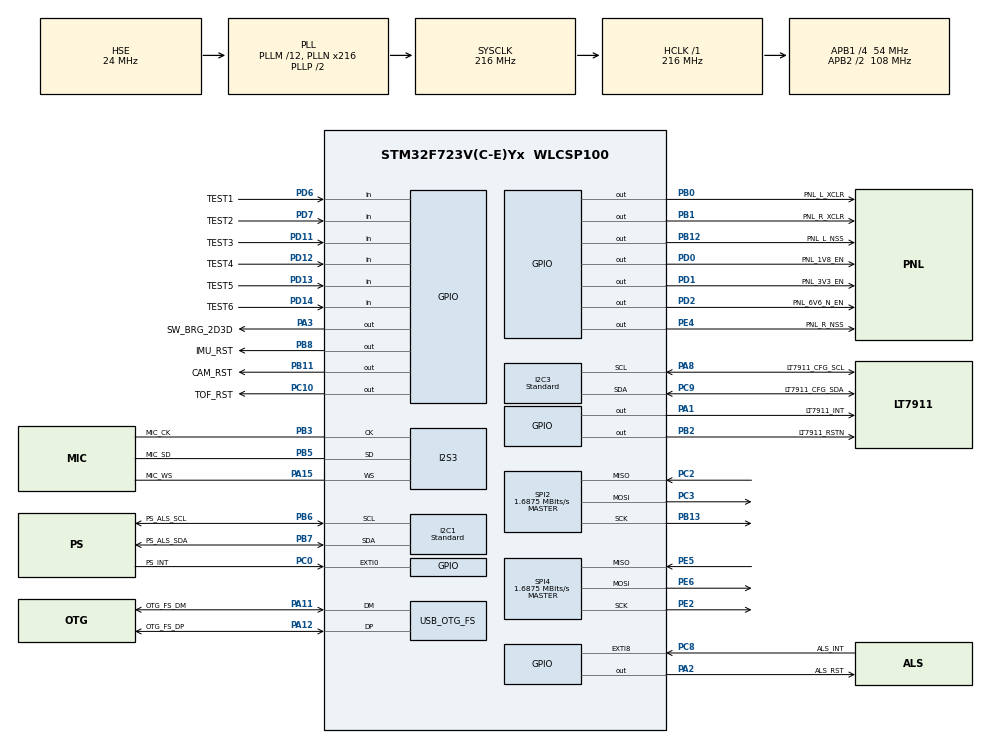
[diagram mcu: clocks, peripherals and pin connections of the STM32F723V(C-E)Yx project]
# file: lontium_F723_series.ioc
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Dma.Request0=SPI3_RX
Dma.SPI3_RX.0.Direction=DMA_PERIPH_TO_MEMORY
Dma.SPI3_RX.0.FIFOMode=DMA_FIFOMODE_DISABLE
Dma.SPI3_RX.0.Instance=DMA1_Stream0
Dma.SPI3_RX.0.MemDataAlignment=DMA_MDATAALIGN_HALFWORD
Dma.SPI3_RX.0.MemInc=DMA_MINC_ENABLE
Dma.SPI3_RX.0.Mode=DMA_CIRCULAR
Dma.SPI3_RX.0.PeriphDataAlignment=DMA_PDATAALIGN_HALFWORD
Dma.SPI3_RX.0.PeriphInc=DMA_PINC_DISABLE
Dma.SPI3_RX.0.Priority=DMA_PRIORITY_VERY_HIGH
I2C1.I2C_Speed_Mode=I2C_Standard
I2C1.Timing=0x20404768
I2C3.I2C_Speed_Mode=I2C_Standard
I2C3.Timing=0x20404768
I2S3.AudioFreq=I2S_AUDIOFREQ_16K
I2S3.DataFormat=I2S_DATAFORMAT_16B_EXTENDED
I2S3.ErrorAudioFreq=-0.26 %
I2S3.FullDuplexMode=I2S_FULLDUPLEXMODE_DISABLE
I2S3.Instance=SPI$Index
I2S3.Mode=I2S_MODE_MASTER_RX
I2S3.RealAudioFreq=15.957 KHz
I2S3.VirtualMode=I2S_MODE_MASTER
Mcu.Family=STM32F7
Mcu.Name=STM32F723V(C-E)Yx
Mcu.Package=WLCSP100
NVIC.DMA1_Stream0_IRQn=true\:0\:0\:true\:false\:true\:false\:true\:true
NVIC.EXTI0_IRQn=true\:1\:0\:true\:false\:true\:true\:true\:true
NVIC.EXTI9_5_IRQn=true\:1\:0\:true\:false\:true\:true\:true\:true
NVIC.I2C1_ER_IRQn=true\:2\:0\:true\:false\:true\:true\:true\:true
NVIC.I2C1_EV_IRQn=true\:2\:0\:true\:false\:true\:true\:true\:true
NVIC.I2C3_ER_IRQn=true\:2\:0\:true\:false\:true\:true\:true\:true
NVIC.I2C3_EV_IRQn=true\:2\:0\:true\:false\:true\:true\:true\:true
NVIC.OTG_FS_IRQn=true\:0\:0\:false\:false\:true\:false\:true\:true
NVIC.PriorityGroup=NVIC_PRIORITYGROUP_4
NVIC.SPI3_IRQn=true\:0\:0\:false\:false\:true\:true\:true\:true
PA1.GPIO_Label=LT7911_INT
PA1.Signal=GPIO_Output
PA11.GPIO_Label=OTG_FS_DM
PA11.Mode=Device_Only
PA11.Signal=USB_OTG_FS_DM
PA12.GPIO_Label=OTG_FS_DP
PA12.Mode=Device_Only
PA12.Signal=USB_OTG_FS_DP
PA13.Mode=Serial_Wire
PA13.Signal=SYS_JTMS-SWDIO
PA14.Mode=Serial_Wire
PA14.Signal=SYS_JTCK-SWCLK
PA15.GPIO_Label=MIC_WS
PA15.Mode=Half_Duplex_Master
PA15.Signal=I2S3_WS
PA2.GPIO_Label=ALS_RST
PA2.Signal=GPIO_Output
PA3.GPIO_Label=SW_BRG_2D3D
PA3.Signal=GPIO_Output
PA8.GPIO_Label=LT7911_CFG_SCL
PA8.GPIO_Pu=GPIO_NOPULL
PA8.Mode=I2C
PA8.Signal=I2C3_SCL
PB0.GPIO_Label=PNL_L_XCLR
PB0.Signal=GPIO_Output
PB1.GPIO_Label=PNL_R_XCLR
PB1.Signal=GPIO_Output
PB11.GPIO_Label=CAM_RST
PB11.Signal=GPIO_Output
PB12.GPIO_Label=PNL_L_NSS
PB12.GPIO_PuPd=GPIO_NOPULL
PB12.GPIO_Speed=GPIO_SPEED_FREQ_LOW
PB12.Signal=GPIO_Output
PB13.Mode=Full_Duplex_Master
PB13.Signal=SPI2_SCK
PB2.GPIO_Label=LT7911_RSTN
PB2.Signal=GPIO_Output
PB3.GPIO_Label=MIC_CK
PB3.Mode=Half_Duplex_Master
PB3.Signal=I2S3_CK
PB5.GPIO_Label=MIC_SD
PB5.Mode=Half_Duplex_Master
PB5.Signal=I2S3_SD
PB6.GPIO_Label=PS_ALS_SCL
PB6.GPIO_Pu=GPIO_NOPULL
PB6.Mode=I2C
PB6.Signal=I2C1_SCL
PB7.GPIO_Label=PS_ALS_SDA
PB7.GPIO_Pu=GPIO_NOPULL
PB7.Mode=I2C
PB7.Signal=I2C1_SDA
PB8.GPIO_Label=IMU_RST
PB8.Signal=GPIO_Output
PC0.GPIO_Label=PS_INT
PC0.GPIO_ModeDefaultEXTI=GPIO_MODE_IT_RISING
PC0.GPIO_PuPd=GPIO_NOPULL
PC0.Signal=GPXTI0
PC10.GPIO_Label=TOF_RST
PC10.Signal=GPIO_Output
PC2.Mode=Full_Duplex_Master
PC2.Signal=SPI2_MISO
PC3.Mode=Full_Duplex_Master
PC3.Signal=SPI2_MOSI
PC8.GPIO_Label=ALS_INT
PC8.GPIO_ModeDefaultEXTI=GPIO_MODE_IT_RISING
PC8.GPIO_PuPd=GPIO_NOPULL
PC8.Signal=GPXTI8
PC9.GPIO_Label=LT7911_CFG_SDA
PC9.GPIO_Pu=GPIO_NOPULL
PC9.Mode=I2C
PC9.Signal=I2C3_SDA
PD0.GPIO_Label=PNL_1V8_EN
PD0.Signal=GPIO_Output
PD1.GPIO_Label=PNL_3V3_EN
PD1.Signal=GPIO_Output
PD11.GPIO_Label=TEST3
PD11.GPIO_PuPd=GPIO_PULLUP
PD11.Signal=GPIO_Input
PD12.GPIO_Label=TEST4
PD12.GPIO_PuPd=GPIO_PULLUP
PD12.Signal=GPIO_Input
PD13.GPIO_Label=TEST5
PD13.GPIO_PuPd=GPIO_PULLUP
PD13.Signal=GPIO_Input
PD14.GPIO_Label=TEST6
PD14.GPIO_PuPd=GPIO_PULLUP
PD14.Signal=GPIO_Input
PD2.GPIO_Label=PNL_6V6_N_EN
PD2.Signal=GPIO_Output
PD6.GPIO_Label=TEST1
PD6.GPIO_PuPd=GPIO_PULLUP
PD6.Signal=GPIO_Input
PD7.GPIO_Label=TEST2
PD7.GPIO_PuPd=GPIO_PULLUP
PD7.Signal=GPIO_Input
PE2.Mode=Full_Duplex_Master
PE2.Signal=SPI4_SCK
PE4.GPIO_Label=PNL_R_NSS
PE4.GPIO_PuPd=GPIO_NOPULL
PE4.GPIO_Speed=GPIO_SPEED_FREQ_LOW
PE4.Signal=GPIO_Output
PE5.Mode=Full_Duplex_Master
PE5.Signal=SPI4_MISO
PE6.Mode=Full_Duplex_Master
PE6.Signal=SPI4_MOSI
PH0-OSC_IN.Mode=HSE-External-Oscillator
PH0-OSC_IN.Signal=RCC_OSC_IN
PH1-OSC_OUT.Mode=HSE-External-Oscillator
PH1-OSC_OUT.Signal=RCC_OSC_OUT
ProjectManager.HeapSize=0x200
ProjectManager.StackSize=0x400
ProjectManager.TargetToolchain=STM32CubeIDE
RCC.AHBFreq_Value=216000000
RCC.APB1CLKDivider=RCC_HCLK_DIV4
RCC.APB1Freq_Value=54000000
RCC.APB1TimFreq_Value=108000000
RCC.APB2CLKDivider=RCC_HCLK_DIV2
RCC.APB2Freq_Value=108000000
RCC.APB2TimFreq_Value=216000000
RCC.CortexFreq_Value=216000000
RCC.HCLKFreq_Value=216000000
RCC.HSE_VALUE=24000000
RCC.HSI_VALUE=16000000
RCC.LSE_VALUE=32768
RCC.PLLI2SN=96
RCC.PLLM=12
RCC.PLLN=216
RCC.PLLQ=9
RCC.SYSCLKFreq_VALUE=216000000
RCC.SYSCLKSource=RCC_SYSCLKSOURCE_PLLCLK
RCC.USBFreq_Value=48000000
RCC.VCOOutputFreq_Value=432000000
SPI2.BaudRatePrescaler=SPI_BAUDRATEPRESCALER_32
SPI2.CalculateBaudRate=1.6875 MBits/s
SPI2.DataSize=SPI_DATASIZE_8BIT
SPI2.Direction=SPI_DIRECTION_2LINES
SPI2.FirstBit=SPI_FIRSTBIT_LSB
SPI2.Mode=SPI_MODE_MASTER
SPI2.VirtualType=VM_MASTER
SPI4.BaudRatePrescaler=SPI_BAUDRATEPRESCALER_64
SPI4.CalculateBaudRate=1.6875 MBits/s
SPI4.DataSize=SPI_DATASIZE_8BIT
SPI4.Direction=SPI_DIRECTION_2LINES
SPI4.FirstBit=SPI_FIRSTBIT_LSB
SPI4.Mode=SPI_MODE_MASTER
SPI4.VirtualType=VM_MASTER
USB_DEVICE.CLASS_NAME_FS=CDC
USB_DEVICE.VirtualMode-CDC_FS=Cdc
USB_DEVICE.VirtualModeFS=Cdc_FS
USB_OTG_FS.VirtualMode=Device_Only
VP_USB_DEVICE_VS_USB_DEVICE_CDC_FS.Mode=CDC_FS
board=custom

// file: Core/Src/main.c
/* USER CODE BEGIN Header */
/**
  ******************************************************************************
  * @file           : main.c
  * @brief          : Main program body
  ******************************************************************************
  * @attention
  *
  * Copyright (c) 2023 STMicroelectronics.
  * All rights reserved.
  *
  * This software is licensed under terms that can be found in the LICENSE file
  * in the root directory of this software component.
  * If no LICENSE file comes with this software, it is provided AS-IS.
  *
  ******************************************************************************
  */
/* USER CODE END Header */
#include "main.h"
#include "dma.h"
#include "i2c.h"
#include "i2s.h"
#include "spi.h"
#include "usb_device.h"
#include "gpio.h"

/* USER CODE BEGIN Includes */
#include "usbd_core.h"
#include "ecx343.h"
#include "rpr0521.h"
#include "al3010.h"
#include "lt7911ux.h"
#include "usbd_cdc_if.h"
/* USER CODE END Includes */

/* USER CODE BEGIN PD */
#define SCAN_I2C    0
#define I2C_BUS     (&hi2c3)
#define KETBOARD_TEST 0
/* USER CODE END PD */

/* USER CODE BEGIN PM */
uint16_t i2s_data[32];
uint16_t sample_data[16];
/* USER CODE END PM */

/* USER CODE BEGIN PV */
uint8_t pnl_ready = 0;
uint8_t als_ready = 0;
uint8_t ps_ready  = 0;
extern USBD_HandleTypeDef hUsbDeviceFS;
/* USER CODE END PV */

void SystemClock_Config(void);
/* USER CODE BEGIN PFP */
void MPU_Config(void);
/* USER CODE END PFP */

/* USER CODE BEGIN 0 */
void boot_UserDFU(void)
{
    USBD_Stop(&hUsbDeviceFS);
    HAL_Delay(100);
    USBD_DeInit(&hUsbDeviceFS);
    HAL_Delay(100);

    SCB_DisableICache();
    SCB_DisableDCache();
    *((unsigned long *)0x20017FF0) = 0xDEADBEEF; // 256KB STM32F723

    __DSB();
    __ISB();

    __DSB();

    NVIC_SystemReset();
    /* Should never reach!!! */
    while(1);
}

void delay_us(uint32_t udelay)
{
  uint32_t startval = SysTick->VAL;
  uint32_t tickn = HAL_GetTick();
  uint32_t delay_ticks = (udelay * (SystemCoreClock/1000000U))/8U;

  while ((SysTick->VAL - startval) < delay_ticks)
  {
    if (HAL_GetTick() != tickn)
    {
      tickn = HAL_GetTick();
      startval = SysTick->VAL;
    }
  }
}
/* USER CODE END 0 */

int main(void)
{
  /* USER CODE BEGIN 1 */
  #if SCAN_I2C
  uint8_t result;
  uint16_t deviceAddr;
  #endif

  #if KETBOARD_TEST
  uint8_t test_1 = 0;
  uint8_t test_2 = 0;
  uint8_t test_3 = 0;
  uint8_t test_4 = 0;
  uint8_t test_5 = 0;
  uint8_t test_6 = 0;
  uint8_t key_pressed = 0;
  uint32_t last_time = 0;
  #endif
  /* USER CODE END 1 */

  /* MCU Configuration--------------------------------------------------------*/
   MPU_Config();

   /* Enable I-Cache---------------------------------------------------------*/
   SCB_EnableICache();

   /* Enable D-Cache---------------------------------------------------------*/
   SCB_EnableDCache();
   /* MCU Configuration--------------------------------------------------------*/
  /* Reset of all peripherals, Initializes the Flash interface and the Systick. */
  HAL_Init();

  /* Configure the system clock */
  SystemClock_Config();

  /* Initialize all configured peripherals */
  MX_GPIO_Init();
  MX_USB_DEVICE_Init();
  MX_I2C3_Init();
  MX_SPI2_Init();
  MX_SPI4_Init();
  MX_I2C1_Init();
  MX_I2S3_Init();
  MX_DMA_Init();
  /* USER CODE BEGIN 2 */
  HAL_GPIO_WritePin(ALS_RST_GPIO_Port, ALS_RST_Pin, GPIO_PIN_SET);
  HAL_Delay(100);
  HAL_GPIO_WritePin(TOF_RST_GPIO_Port, TOF_RST_Pin, GPIO_PIN_SET);
  HAL_Delay(100);
  HAL_GPIO_WritePin(IMU_RST_GPIO_Port, IMU_RST_Pin, GPIO_PIN_SET);
  HAL_Delay(100);
  HAL_GPIO_WritePin(CAM_RST_GPIO_Port, CAM_RST_Pin, GPIO_PIN_SET);
  HAL_Delay(100);

  /*al3010 init*/
//  AL3010_Init();
//  HAL_Delay(10);
  /*rpr0521 init*/
//  RPR0521_Init();
//  HAL_Delay(10);
//  RPR0521_SetUp();
//  HAL_Delay(10);
  /*ecx343en init*/
//  ECX343EN_Init();
//  HAL_Delay(10);
//  HAL_GPIO_WritePin(LT7911_RSTN_GPIO_Port, LT7911_RSTN_Pin, GPIO_PIN_SET);
//  HAL_Delay(100);
//  ECX343EN_Run();
//  HAL_Delay(10);

  LT7911_Init();
//  uint16_t nChipId = LT7911_ReadChipId();
  lt7911_firmware_update_init();
  HAL_Delay(2000);
//  if (HAL_I2S_Receive_DMA(&hi2s3, (uint16_t *)i2s_data, sizeof(i2s_data)/2) != HAL_OK) {
//       Error_Handler();
//  }
  boot_UserDFU();
  /* USER CODE END 2 */

  /* Infinite loop */
  while (1)
  {

    /* USER CODE BEGIN 3 */
//      if (als_ready)
//      {
//          AL3010_ReadData();
//      }
//      else if (ps_ready)
//      {
//          RPR0521_ReadPS();
//      }

//      p_threshold = RPR0521_ReadPS();
//      on_flag = (p_threshold > 1000) ? 1 : 0;
//      if (on_flag && pnl_flag)
//      {
//          pnl_flag = 0;
//          ECX343EN_PowerOff();
//
//      }
//      else if (!on_flag && !pnl_flag)
//      {
//          pnl_flag = 1;
//          ECX343EN_PowerOn();
//      }
//      AL3010_ReadData();

//    ECX343EN_Inversion(0x88);
//    HAL_Delay(1000);
//    ECX343EN_Inversion(0x84);
//    HAL_Delay(1000);
//    ECX343EN_Inversion(0x80);
//    HAL_Delay(1000);
//    ECX343EN_ArbitraryLuminanceH(0x01);
//    HAL_Delay(10);
//    ECX343EN_ArbitraryLuminanceL(0xF4);
//    HAL_Delay(1000);
//    ECX343EN_ArbitraryLuminanceH(0x00);
//    HAL_Delay(10);
//    ECX343EN_ArbitraryLuminanceL(0x64);
//    HAL_Delay(1000);
//    ECX343EN_OrbitH(0x30);
//    HAL_Delay(1000);
//    ECX343EN_OrbitH(0x10);
//    HAL_Delay(1000);
//    ECX343EN_OrbitV(0x30);
//    HAL_Delay(1000);
//    ECX343EN_OrbitV(0x10);
//    HAL_Delay(1000);

    #if KETBOARD_TEST
    if(HAL_GPIO_ReadPin(TEST1_GPIO_Port, TEST1_Pin) == GPIO_PIN_RESET)
    {
        if (!key_pressed) {
          uint32_t current_time = HAL_GetTick();
          if ((current_time - last_time) > 200) {
              test_1++;
            last_time = current_time;
          }
          key_pressed = 1;
        }
        HAL_Delay(50);
      } else {
        key_pressed = 0;
      }

    else if(HAL_GPIO_ReadPin(TEST2_GPIO_Port, TEST2_Pin) == GPIO_PIN_RESET)
    {
        if (!key_pressed) {
          uint32_t current_time = HAL_GetTick();
          if ((current_time - last_time) > 200) {
              test_2++;
            last_time = current_time;
          }
          key_pressed = 1;
        }
        HAL_Delay(50);
      } else {
        key_pressed = 0;
      }

    else if(HAL_GPIO_ReadPin(TEST3_GPIO_Port, TEST3_Pin) == GPIO_PIN_RESET)
    {
        if (!key_pressed) {
          uint32_t current_time = HAL_GetTick();
          if ((current_time - last_time) > 200) {
              test_3++;
            last_time = current_time;
          }
          key_pressed = 1;
        }
        HAL_Delay(50);
      } else {
        key_pressed = 0;
      }

    else if(HAL_GPIO_ReadPin(TEST4_GPIO_Port, TEST4_Pin) == GPIO_PIN_RESET)
    {
        if (!key_pressed) {
          uint32_t current_time = HAL_GetTick();
          if ((current_time - last_time) > 200) {
              test_4++;
            last_time = current_time;
          }
          key_pressed = 1;
        }
        HAL_Delay(50);
      } else {
        key_pressed = 0;
      }

    else if(HAL_GPIO_ReadPin(TEST5_GPIO_Port, TEST5_Pin) == GPIO_PIN_RESET)
    {
        if (!key_pressed) {
          uint32_t current_time = HAL_GetTick();
          if ((current_time - last_time) > 200) {
              test_5++;
            last_time = current_time;
          }
          key_pressed = 1;
        }
        HAL_Delay(50);
      } else {
        key_pressed = 0;
      }

    else if(HAL_GPIO_ReadPin(TEST6_GPIO_Port, TEST6_Pin) == GPIO_PIN_RESET)
    {
        if (!key_pressed) {
          uint32_t current_time = HAL_GetTick();
          if ((current_time - last_time) > 200) {
              test_6++;
            last_time = current_time;
          }
          key_pressed = 1;
        }
        HAL_Delay(50);
      } else {
        key_pressed = 0;
      }
    #endif

    #if SCAN_I2C
    for (uint16_t i=1; i<=128; i++)
    {
      result = HAL_I2C_IsDeviceReady(I2C_BUS, (i<<1), 3, 5);
      if (result == HAL_OK)
      {
          deviceAddr = (i<<1);
      }
      HAL_Delay(5);
    }
    #endif
//    HAL_Delay(10);
  }
  /* USER CODE END 3 */
}

void SystemClock_Config(void)
{
  RCC_OscInitTypeDef RCC_OscInitStruct = {0};
  RCC_ClkInitTypeDef RCC_ClkInitStruct = {0};

  /** Configure the main internal regulator output voltage
  */
  __HAL_RCC_PWR_CLK_ENABLE();
  __HAL_PWR_VOLTAGESCALING_CONFIG(PWR_REGULATOR_VOLTAGE_SCALE1);

  /** Initializes the RCC Oscillators according to the specified parameters
  * in the RCC_OscInitTypeDef structure.
  */
  RCC_OscInitStruct.OscillatorType = RCC_OSCILLATORTYPE_HSE;
  RCC_OscInitStruct.HSEState = RCC_HSE_ON;
  RCC_OscInitStruct.PLL.PLLState = RCC_PLL_ON;
  RCC_OscInitStruct.PLL.PLLSource = RCC_PLLSOURCE_HSE;
  RCC_OscInitStruct.PLL.PLLM = 12;
  RCC_OscInitStruct.PLL.PLLN = 216;
  RCC_OscInitStruct.PLL.PLLP = RCC_PLLP_DIV2;
  RCC_OscInitStruct.PLL.PLLQ = 9;
  if (HAL_RCC_OscConfig(&RCC_OscInitStruct) != HAL_OK)
  {
    Error_Handler();
  }

  /** Activate the Over-Drive mode
  */
  if (HAL_PWREx_EnableOverDrive() != HAL_OK)
  {
    Error_Handler();
  }

  /** Initializes the CPU, AHB and APB buses clocks
  */
  RCC_ClkInitStruct.ClockType = RCC_CLOCKTYPE_HCLK|RCC_CLOCKTYPE_SYSCLK
                              |RCC_CLOCKTYPE_PCLK1|RCC_CLOCKTYPE_PCLK2;
  RCC_ClkInitStruct.SYSCLKSource = RCC_SYSCLKSOURCE_PLLCLK;
  RCC_ClkInitStruct.AHBCLKDivider = RCC_SYSCLK_DIV1;
  RCC_ClkInitStruct.APB1CLKDivider = RCC_HCLK_DIV4;
  RCC_ClkInitStruct.APB2CLKDivider = RCC_HCLK_DIV2;

  if (HAL_RCC_ClockConfig(&RCC_ClkInitStruct, FLASH_LATENCY_7) != HAL_OK)
  {
    Error_Handler();
  }
}

/* USER CODE BEGIN 4 */
void HAL_GPIO_EXTI_Callback(uint16_t GPIO_Pin)
{
    if(ALS_INT_Pin == GPIO_Pin)
    {
        als_ready = 1;
    }
    else if(PS_INT_Pin == GPIO_Pin)
    {
        ps_ready = 1;
    }
}

void HAL_I2S_RxCpltCallback(I2S_HandleTypeDef *hi2s)
{
  for (uint8_t i = 0; i < sizeof(i2s_data)/4 ; i++) {
      sample_data[i] = i2s_data[i*2];
  }

}
void MPU_Config(void)
{
  MPU_Region_InitTypeDef MPU_InitStruct = {0};

  /* Disables the MPU */
  HAL_MPU_Disable();
  /** Initializes and configures the Region and the memory to be protected
  */
  MPU_InitStruct.Enable = MPU_REGION_ENABLE;
  MPU_InitStruct.Number = MPU_REGION_NUMBER0;
  MPU_InitStruct.BaseAddress = 0x0;
  MPU_InitStruct.Size = MPU_REGION_SIZE_4GB;
  MPU_InitStruct.SubRegionDisable = 0x87;
  MPU_InitStruct.TypeExtField = MPU_TEX_LEVEL0;
  MPU_InitStruct.AccessPermission = MPU_REGION_NO_ACCESS;
  MPU_InitStruct.DisableExec = MPU_INSTRUCTION_ACCESS_DISABLE;
  MPU_InitStruct.IsShareable = MPU_ACCESS_SHAREABLE;
  MPU_InitStruct.IsCacheable = MPU_ACCESS_NOT_CACHEABLE;
  MPU_InitStruct.IsBufferable = MPU_ACCESS_NOT_BUFFERABLE;

  HAL_MPU_ConfigRegion(&MPU_InitStruct);
  /* Enables the MPU */
  HAL_MPU_Enable(MPU_HFNMI_PRIVDEF);

}
/* USER CODE END 4 */

void Error_Handler(void)
{
  __disable_irq();
  while (1)
  {
  }
}
